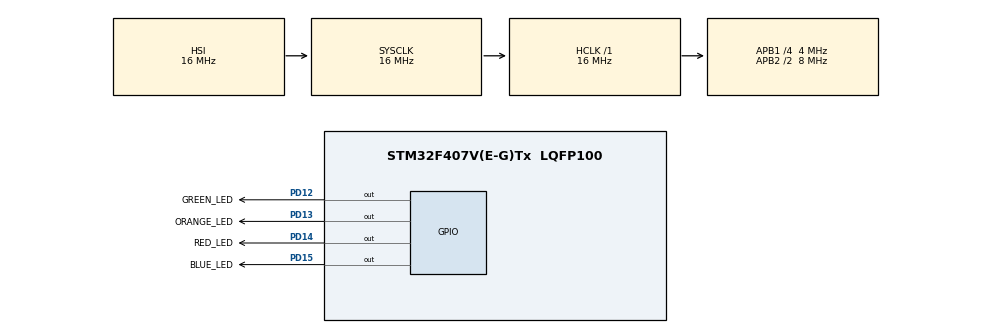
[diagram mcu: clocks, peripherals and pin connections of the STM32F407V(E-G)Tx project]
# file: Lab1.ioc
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Mcu.Family=STM32F4
Mcu.Name=STM32F407V(E-G)Tx
Mcu.Package=LQFP100
NVIC.PriorityGroup=NVIC_PRIORITYGROUP_4
PD12.GPIO_Label=GREEN_LED
PD12.Signal=GPIO_Output
PD13.GPIO_Label=ORANGE_LED
PD13.Signal=GPIO_Output
PD14.GPIO_Label=RED_LED
PD14.Signal=GPIO_Output
PD15.GPIO_Label=BLUE_LED
PD15.Signal=GPIO_Output
ProjectManager.HeapSize=0x200
ProjectManager.StackSize=0x400
ProjectManager.TargetToolchain=STM32CubeIDE
RCC.48MHZClocksFreq_Value=32000000
RCC.AHBFreq_Value=16000000
RCC.APB1CLKDivider=RCC_HCLK_DIV4
RCC.APB1Freq_Value=4000000
RCC.APB1TimFreq_Value=8000000
RCC.APB2CLKDivider=RCC_HCLK_DIV2
RCC.APB2Freq_Value=8000000
RCC.APB2TimFreq_Value=16000000
RCC.CortexFreq_Value=16000000
RCC.HCLKFreq_Value=16000000
RCC.HSE_VALUE=25000000
RCC.HSI_VALUE=16000000
RCC.LSE_VALUE=32768
RCC.PLLM=8
RCC.PLLN=64
RCC.SYSCLKFreq_VALUE=16000000
RCC.VCOOutputFreq_Value=128000000
board=custom

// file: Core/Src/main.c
/* USER CODE BEGIN Header */
/**
  ******************************************************************************
  * @file           : main.c
  * @brief          : Main program body
  ******************************************************************************
  * @attention
  *
  * Copyright (c) 2024 STMicroelectronics.
  * All rights reserved.
  *
  * This software is licensed under terms that can be found in the LICENSE file
  * in the root directory of this software component.
  * If no LICENSE file comes with this software, it is provided AS-IS.
  *
  ******************************************************************************
  */
/* USER CODE END Header */
#include "main.h"

void SystemClock_Config(void);
static void MX_GPIO_Init(void);

int main(void)
{

  /* MCU Configuration--------------------------------------------------------*/

  /* Reset of all peripherals, Initializes the Flash interface and the Systick. */
  HAL_Init();

  /* Configure the system clock */
  SystemClock_Config();

  /* Initialize all configured peripherals */
  MX_GPIO_Init();

  /* Infinite loop */
  while (1)
  {

    /* USER CODE BEGIN 3 */
	  HAL_GPIO_WritePin(BLUE_LED_GPIO_Port, BLUE_LED_Pin, GPIO_PIN_SET);
	  HAL_Delay(250);

	  HAL_GPIO_WritePin(GREEN_LED_GPIO_Port, GREEN_LED_Pin, GPIO_PIN_SET);
	  HAL_Delay(200);

	  HAL_GPIO_WritePin(ORANGE_LED_GPIO_Port, ORANGE_LED_Pin, GPIO_PIN_SET);
	  HAL_Delay(100);

	  HAL_GPIO_WritePin(RED_LED_GPIO_Port, RED_LED_Pin, GPIO_PIN_SET);
	  HAL_Delay(50);

	  HAL_GPIO_WritePin(RED_LED_GPIO_Port, RED_LED_Pin, GPIO_PIN_RESET);
	  HAL_Delay(50);

	  HAL_GPIO_WritePin(ORANGE_LED_GPIO_Port, ORANGE_LED_Pin, GPIO_PIN_RESET);
	  HAL_Delay(100);

	  HAL_GPIO_WritePin(GREEN_LED_GPIO_Port, GREEN_LED_Pin, GPIO_PIN_RESET);
	  HAL_Delay(200);

	  HAL_GPIO_WritePin(BLUE_LED_GPIO_Port, BLUE_LED_Pin, GPIO_PIN_RESET);
	  HAL_Delay(250);
  }
  /* USER CODE END 3 */
}

void SystemClock_Config(void)
{
  RCC_OscInitTypeDef RCC_OscInitStruct = {0};
  RCC_ClkInitTypeDef RCC_ClkInitStruct = {0};

  /** Configure the main internal regulator output voltage
  */
  __HAL_RCC_PWR_CLK_ENABLE();
  __HAL_PWR_VOLTAGESCALING_CONFIG(PWR_REGULATOR_VOLTAGE_SCALE1);

  /** Initializes the RCC Oscillators according to the specified parameters
  * in the RCC_OscInitTypeDef structure.
  */
  RCC_OscInitStruct.OscillatorType = RCC_OSCILLATORTYPE_HSI;
  RCC_OscInitStruct.HSIState = RCC_HSI_ON;
  RCC_OscInitStruct.HSICalibrationValue = RCC_HSICALIBRATION_DEFAULT;
  RCC_OscInitStruct.PLL.PLLState = RCC_PLL_NONE;
  if (HAL_RCC_OscConfig(&RCC_OscInitStruct) != HAL_OK)
  {
    Error_Handler();
  }

  /** Initializes the CPU, AHB and APB buses clocks
  */
  RCC_ClkInitStruct.ClockType = RCC_CLOCKTYPE_HCLK|RCC_CLOCKTYPE_SYSCLK
                              |RCC_CLOCKTYPE_PCLK1|RCC_CLOCKTYPE_PCLK2;
  RCC_ClkInitStruct.SYSCLKSource = RCC_SYSCLKSOURCE_HSI;
  RCC_ClkInitStruct.AHBCLKDivider = RCC_SYSCLK_DIV1;
  RCC_ClkInitStruct.APB1CLKDivider = RCC_HCLK_DIV4;
  RCC_ClkInitStruct.APB2CLKDivider = RCC_HCLK_DIV2;

  if (HAL_RCC_ClockConfig(&RCC_ClkInitStruct, FLASH_LATENCY_0) != HAL_OK)
  {
    Error_Handler();
  }
}

static void MX_GPIO_Init(void)
{
  GPIO_InitTypeDef GPIO_InitStruct = {0};

  /* GPIO Ports Clock Enable */
  __HAL_RCC_GPIOD_CLK_ENABLE();

  /*Configure GPIO pin Output Level */
  HAL_GPIO_WritePin(GPIOD, GREEN_LED_Pin|ORANGE_LED_Pin|RED_LED_Pin|BLUE_LED_Pin, GPIO_PIN_RESET);

  /*Configure GPIO pins : GREEN_LED_Pin ORANGE_LED_Pin RED_LED_Pin BLUE_LED_Pin */
  GPIO_InitStruct.Pin = GREEN_LED_Pin|ORANGE_LED_Pin|RED_LED_Pin|BLUE_LED_Pin;
  GPIO_InitStruct.Mode = GPIO_MODE_OUTPUT_PP;
  GPIO_InitStruct.Pull = GPIO_NOPULL;
  GPIO_InitStruct.Speed = GPIO_SPEED_FREQ_LOW;
  HAL_GPIO_Init(GPIOD, &GPIO_InitStruct);

}

void Error_Handler(void)
{
  __disable_irq();
  while (1)
  {
  }
}
